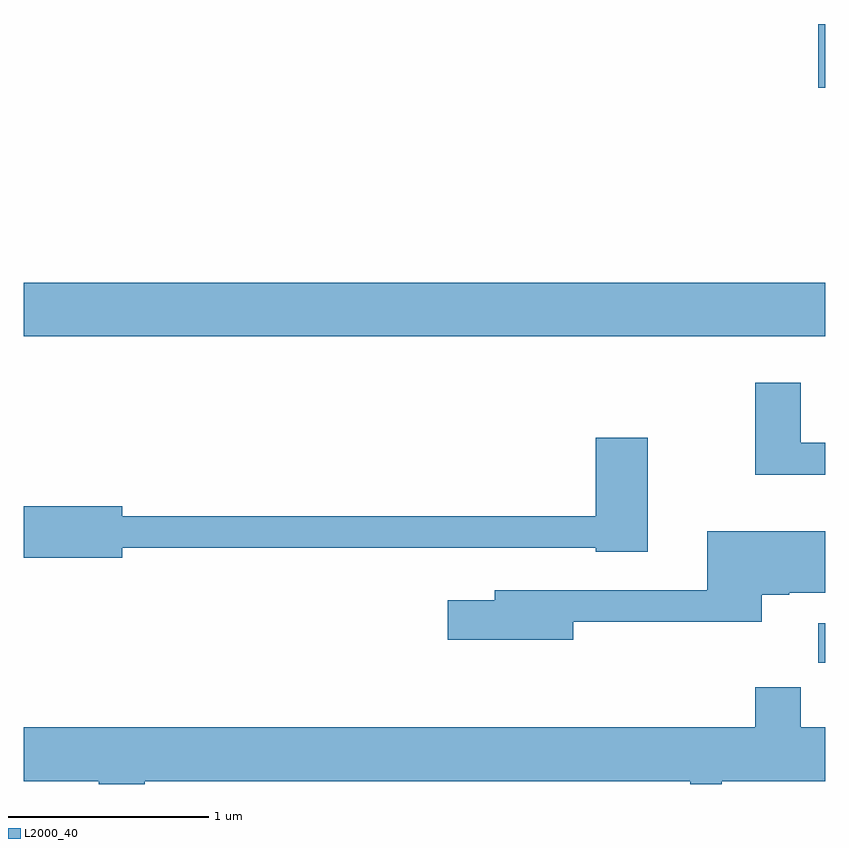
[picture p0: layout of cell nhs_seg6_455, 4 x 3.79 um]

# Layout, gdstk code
import gdstk
lib = gdstk.Library(unit=1e-6, precision=1e-09)
def R(c, l, rs):  # rectangles x0, y0, x1, y1
    for r in rs: c.add(gdstk.rectangle(r[:2], r[2:], *l))
def P(c, l, *ps):  # polygons
    for p in ps: c.add(gdstk.Polygon(p, *l))
L2000_40 = (2000, 40)

nhs_seg6_455 = lib.new_cell('nhs_seg6_455')
R(nhs_seg6_455, L2000_40, [(201.576,1632.766,201.611,1632.964), (197.611,1634.396,201.611,1634.664), (201.576,1635.636,201.611,1635.954)])
P(nhs_seg6_455, L2000_40, [(201.611,1633.864),(201.489,1633.864),(201.489,1634.164),(201.261,1634.164),(201.261,1633.706),(201.611,1633.706)],
  [(198.104,1633.341),(200.466,1633.341),(200.466,1633.321),(200.724,1633.321),(200.724,1633.889),(200.466,1633.889),(200.466,1633.499),(198.104,1633.499),(198.104,1633.549),(197.611,1633.549),(197.611,1633.291),(198.104,1633.291)],
  [(200.354,1632.971),(201.294,1632.971),(201.294,1633.106),(201.43,1633.106),(201.43,1633.116),(201.611,1633.116),(201.611,1633.424),(201.021,1633.424),(201.021,1633.129),(199.961,1633.129),(199.961,1633.079),(199.726,1633.079),(199.726,1632.881),(200.354,1632.881)],
  [(198.214,1632.176),(200.936,1632.176),(200.936,1632.162),(201.094,1632.162),(201.094,1632.176),(201.611,1632.176),(201.611,1632.444),(201.489,1632.444),(201.489,1632.644),(201.261,1632.644),(201.261,1632.444),(197.611,1632.444),(197.611,1632.176),(197.986,1632.176),(197.986,1632.162),(198.214,1632.162)])

lib.write_gds('nhs_seg6_455.gds')
